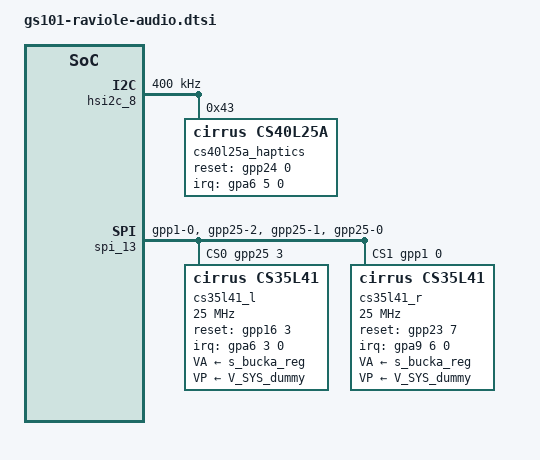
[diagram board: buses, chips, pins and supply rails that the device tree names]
// SPDX-License-Identifier: GPL-2.0-only
/*
 * Google GS101 Raven/Oriole common audio device tree source
 *
 * Copyright (c) 2020 Google, LLC
 *		https://www.google.com
 *
*/
#include <dt-bindings/pinctrl/samsung.h>
#include <dt-bindings/gpio/gpio.h>
#include <dt-bindings/sound/google-aoc.h>
#include <dt-bindings/regulator/samsung,s2mpg-regulator.h>

&dai_be_tdm0_rx {
	codec {
		sound-dai = <&cs35l41_l 0>,
			<&cs35l41_r 0>;
	};
};

&dai_be_tdm0_tx {
	codec {
		sound-dai = <&cs35l41_l 0>,
			<&cs35l41_r 0>;
	};
};

&dai_be_haptic_rx {
	dai_be_haptic_rx_codec: codec {
		sound-dai = <&cs40l2x_codec 0>;
	};
};

&aoc_snd_card {
	clks {
		sys {
			sys@cs35l41_l {
				comp = <&cs35l41_l>;
				src = "BCLK";
				/* clk id */
				id = <0>;
				/* clk source */
				srcid = <0>;
				/* in clk multiple */
				in_mul = <1>;
				/* out clk multiple */
				out_mul = <1>;
			};

			sys@cs35l41_r {
				comp = <&cs35l41_r>;
				src = "BCLK";
				/* clk id */
				id = <0>;
				/* clk source */
				srcid = <0>;
				/* in clk multiple */
				in_mul = <1>;
				/* out clk multiple */
				out_mul = <1>;
			};

			cs40l2x_codec_clk: sys@cs40l2x_codec {
				comp = <&cs40l2x_codec>;
				src = "BCLK";
				/* clk id */
				id = <0>;
				/* clk source */
				srcid = <0>;
				/* in clk multiple */
				in_mul = <1>;
				/* out clk multiple */
				out_mul = <1>;
			};
		};
	};
};

/* GPIO_ALIVE */
&pinctrl_0 {
	cs35l41_r_irq: cs35l41-r-irq {
		samsung,pins = "gpa9-6"; /* XEINT_26 */
		samsung,pin-function = <EXYNOS_PIN_FUNC_EINT>;
		samsung,pin-pud = <EXYNOS_PIN_PULL_NONE>;
	};
};

/* GPIO_FAR_ALIVE */
&pinctrl_1 {
	cs35l41_l_irq: cs35l41-l-irq {
		samsung,pins = "gpa6-3"; /* XEINT_3 */
		samsung,pin-function = <EXYNOS_PIN_FUNC_EINT>;
		samsung,pin-pud = <EXYNOS_PIN_PULL_NONE>;
	};

	hapt_amp_irq: hapt-amp-irq {
		samsung,pins = "gpa6-5"; /* XEINT_5 */
		samsung,pin-function = <EXYNOS_PIN_FUNC_EINT>;
		samsung,pin-pud = <EXYNOS_PIN_PULL_NONE>;
	};
};

/* GPIO_PERIC0 */
&pinctrl_4 {
	cs35l41_l_rst: cs35l41-l-rst {
		samsung,pins = "gpp16-3"; /* XAPC_USI8_CTSN_CSN */
		samsung,pin-function = <EXYNOS_PIN_FUNC_OUTPUT>;
		samsung,pin-pud = <EXYNOS_PIN_PULL_NONE>;
		samsung,pin-con-pdn = <EXYNOS_PIN_PDN_PREV>;
		samsung,pin-pud-pdn = <EXYNOS_PIN_PULL_NONE>;
	};

	cs35l41_cs2: cs35l41-cs2 {
		samsung,pins = "gpp1-0"; /* XAPC_GPIO2 */
		samsung,pin-pud = <EXYNOS_PIN_PULL_NONE>;
	};
};

/* GPIO_PERIC1 */
&pinctrl_5 {
	hapt_amp_rst: hapt-amp-rst {
		samsung,pins = "gpp24-0"; /* XAPC_GPIO6 */
		samsung,pin-function = <EXYNOS_PIN_FUNC_OUTPUT>;
		samsung,pin-pud = <EXYNOS_PIN_PULL_NONE>;
		samsung,pin-con-pdn = <EXYNOS_PIN_PDN_PREV>;
		samsung,pin-pud-pdn = <EXYNOS_PIN_PULL_NONE>;
	};

	hapt_amp_trig: hapt-amp-trig {
		samsung,pins = "gpp24-3"; /* XAPC_GPIO9 */
		samsung,pin-function = <EXYNOS_PIN_FUNC_OUTPUT>;
		samsung,pin-pud = <EXYNOS_PIN_PULL_NONE>;
		samsung,pin-con-pdn = <EXYNOS_PIN_PDN_PREV>;
		samsung,pin-pud-pdn = <EXYNOS_PIN_PULL_NONE>;
	};

	cs35l41_r_rst: cs35l41-r-rst {
		samsung,pins = "gpp23-7"; /* XAPC_USI12_CTSN_CSN */
		samsung,pin-function = <EXYNOS_PIN_FUNC_OUTPUT>;
		samsung,pin-pud = <EXYNOS_PIN_PULL_NONE>;
		samsung,pin-con-pdn = <EXYNOS_PIN_PDN_PREV>;
		samsung,pin-pud-pdn = <EXYNOS_PIN_PULL_NONE>;
	};

	cs35l41_miso: cs35l41-miso {
		samsung,pins = "gpp25-2"; /* XAPC_USI13_RTSn_DI */
		samsung,pin-pud = <EXYNOS_PIN_PULL_DOWN>;
	};

	cs35l41_mosi: cs35l41-mosi {
		samsung,pins = "gpp25-1"; /* XAPC_USI13_TXD_DO_SDA */
		samsung,pin-drv = <GS101_PIN_DRV_5_MA>;
	};

	cs35l41_clk: cs35l41-clk {
		samsung,pins = "gpp25-0"; /* XAPC_USI13_RXD_CLK_SCL */
		samsung,pin-drv = <GS101_PIN_DRV_5_MA>;
	};
};

&hsi2c_8 {
	#address-cells = <1>;
	#size-cells = <0>;
	status = "okay";

	pinctrl-names = "default";
	pinctrl-0 = <&hsi2c8_bus>;

	clock-frequency = <400000>;

	cs40l25a_haptics: cs40l25a@43 {
		compatible = "cirrus,cs40l25a";
		reg = <0x43>;
		dev-name = "cs40l25a";

		pinctrl-names = "default";
		pinctrl-0 = <&hapt_amp_irq &hapt_amp_rst &hapt_amp_trig>;

		interrupt-parent = <&gpa6>;
		interrupts = <5 0 0>;

		reset-gpios = <&gpp24 0 0>;

		async-suspend;
		cirrus,fw-id-remap = <0x1400CB>;
		cirrus,boost-ind-nanohenry = <1000>;
		cirrus,boost-cap-microfarad = <4>;
		cirrus,boost-ipk-milliamp = <4500>;
		cirrus,boost-ctl-millivolt = <7500>; /* 7.5V */
		cirrus,boost-clab-millivolt = <7500>; /* 7.5V */
		cirrus,boost-ovp-millivolt = <12000>; /* 12V */
		cirrus,f0-default = <2514000>; /* 153 Hz */
		cirrus,f0-min = <2293760>; /* 140 Hz */
		cirrus,f0-max = <2703360>; /* 165 Hz */
		cirrus,redc-comp-disable = <1>; /* disabling ReDC clk comp */
		cirrus,redc-default = <327728>; /* 14.6446 Ohm */
		cirrus,redc-min = <223786>; /* 10 Ohm */
		cirrus,redc-max = <335680>; /* 15 Ohm */
		cirrus,gpio1-rise-index = <2>; /* 100% HEAVY_CLICK */
		cirrus,gpio1-fall-index = <1>; /* 75% HEAVY_CLICK */
		cirrus,gpio1-fall-timeout = <47278>; /* 985 ms */
		cirrus,gpio1-mode = <2>; /* enabled only in suspend mode */
		cirrus,hiber-enable; /* enable hibernation mode in suspend mode */
		cirrus,refclk-gpio2 = <1>; /* set GPIO2 as REFCLK */
		cirrus,asp-bclk-freq-hz = <6144000>;
		cirrus,asp-bclk-inv;
		cirrus,asp-fmt = <0>;
		cirrus,asp-slot-num = <2>;
		cirrus,asp-slot-width = <32>;
		cirrus,asp-samp-width = <24>;
		cirrus,dcm-disable;  /* disable DCM automatic low power mode */

		status = "okay";

		cs40l2x_codec: cs40l2x_codec@snd {
			#sound-dai-cells = <1>;
			compatible = "cs40l2x-codec";
			status = "okay";
		};
	};
};

&spi_13 {
	/* XAPC_USI13 */
	#address-cells = <1>;
	#size-cells = <0>;
	status = "okay";

	pinctrl-names = "default";
	pinctrl-0 = <&spi13_bus &spi13_cs_func &cs35l41_cs2
		     &cs35l41_miso &cs35l41_mosi &cs35l41_clk>;
	cs-gpios = <&gpp25 3 GPIO_ACTIVE_HIGH>, <&gpp1 0 GPIO_ACTIVE_HIGH>;

	cs35l41_l: cs35l41@0 {
		#sound-dai-cells = <1>;
		compatible = "cirrus,cs35l41";
		spi-max-frequency = <25000000>;
		reg = <0>;

		status = "okay";

		pinctrl-names = "default";
		pinctrl-0 = <&cs35l41_l_irq &cs35l41_l_rst>;

		interrupt-parent = <&gpa6>;
		interrupts = <3 0 0>;

		reset-gpios = <&gpp16 3 0>;

		VA-supply = <&s_bucka_reg>;
		VP-supply = <&V_SYS_dummy>;

		cirrus,boost-peak-milliamp = <3500>;
		cirrus,boost-ind-nanohenry = <1000>;
		cirrus,boost-cap-microfarad = <30>;

		cirrus,asp-sdout-hiz = <3>;
		cirrus,tuning-has-prefix;
		cirrus,left-channel-amp;
		cirrus,hw-noise-gate-select = <63>;
		cirrus,hibernate-enable;

		cirrus,gpio-config2 {
			cirrus,gpio-src-select = <0x5>;
			cirrus,gpio-output-enable;
		};

		controller-data {
			cs-gpio = <&gpp25 3 GPIO_ACTIVE_HIGH>;
			samsung,spi-feedback-delay = <1>;
			/* SET SPI CS CONTROL TO AUTOMATIC */
			samsung,spi-chip-select-mode = <1>;
		};
	};


	cs35l41_r: cs35l41@1 {
		#sound-dai-cells = <1>;
		sound-name-prefix = "R";
		compatible = "cirrus,cs35l41";
		spi-max-frequency = <25000000>;
		reg = <1>;

		status = "okay";

		pinctrl-names = "default";
		pinctrl-0 = <&cs35l41_r_irq &cs35l41_r_rst>;

		interrupt-parent = <&gpa9>;
		interrupts = <6 0 0>;

		reset-gpios = <&gpp23 7 0>;

		VA-supply = <&s_bucka_reg>;
		VP-supply = <&V_SYS_dummy>;

		cirrus,boost-peak-milliamp = <3500>;
		cirrus,boost-ind-nanohenry = <1000>;
		cirrus,boost-cap-microfarad = <30>;

		cirrus,asp-sdout-hiz = <3>;
		cirrus,tuning-has-prefix;
		cirrus,left-channel-amp;
		cirrus,hw-noise-gate-select = <63>;
		cirrus,hibernate-enable;

		cirrus,gpio-config2 {
			cirrus,gpio-src-select = <0x5>;
			cirrus,gpio-output-enable;
		};

		controller-data {
			cs-gpio =<&gpp1 0 GPIO_ACTIVE_HIGH>;
			samsung,spi-feedback-delay = <1>;
			/* SET SPI CS CONTROL TO AUTOMATIC */
			samsung,spi-chip-select-mode = <1>;
		};
	};
};

/* GSA controls MIC power on this platform */
&m_ldo20_reg {
	regulator-initial-mode = <SEC_OPMODE_SUSPEND>;  /* GPIO_CONTROL */
};
